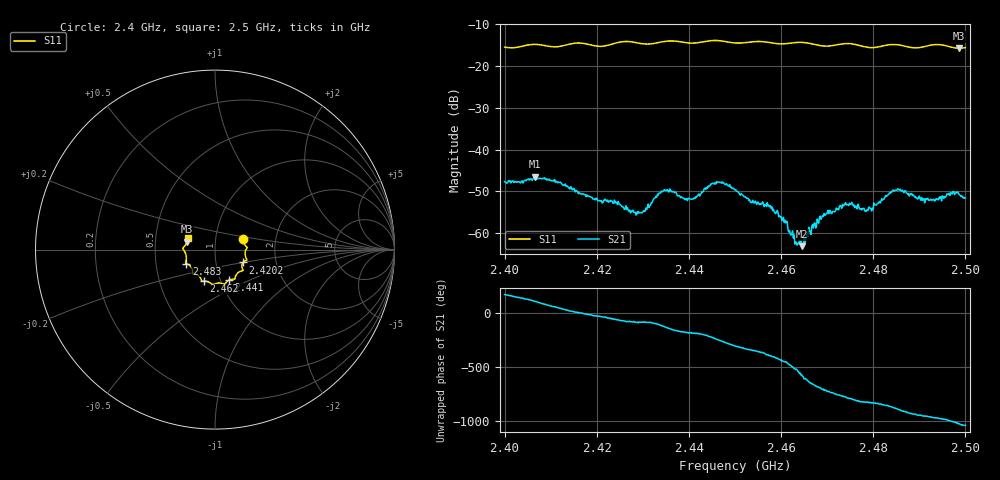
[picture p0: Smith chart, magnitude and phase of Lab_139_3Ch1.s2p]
# Hz S RI R 50
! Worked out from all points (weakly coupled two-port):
!   601 points, 2.4 GHz to 2.5 GHz, reference 50 ohm
!   highest |S21| = -46.48 dB at 2.4065 GHz (marker M1); lowest = -63.1 dB at 2.4645 GHz (marker M2)
!   lowest |S11| = -15.8 dB at 2.4987 GHz (marker M3), VSWR 1.39, Z = 36.4 + j3.28 ohm
!   |S11| at or under -10 dB: start of sweep to end of sweep
!   S12 and S22 are empty: the file has one direction only
!   S11 on the Smith chart (normalised r, x): 2.4 GHz: 1.36, +0.17; 2.4202 GHz: 1.35, -0.20; 2.441 GHz: 1.10, -0.39; 2.462 GHz: 0.83, -0.30; 2.483 GHz: 0.72, -0.12; 2.5 GHz: 0.73, +0.09
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2.4e9  0.1562 0.0605  -0.00407 0.000706  0 0  0 0
2.4065e9  0.1802 0.0127  -0.00139 0.00454  0 0  0 0
2.416667e9  0.1775 -0.0584  0.00293 -3.52e-05  0 0  0 0
2.420167e9  0.1561 -0.0717  0.00213 -0.00125  0 0  0 0
2.429e9  0.1438 -0.1201  -5.42e-05 -0.00183  0 0  0 0
2.433333e9  0.1128 -0.1524  -0.000853 -0.00272  0 0  0 0
2.435667e9  0.1108 -0.1645  -0.00251 -0.00182  0 0  0 0
2.441e9  0.077 -0.1704  -0.00253 0.00041  0 0  0 0
2.446167e9  0.0514 -0.1942  -0.00157 0.00373  0 0  0 0
2.45e9  0.0265 -0.1862  0.00196 0.00265  0 0  0 0
2.4575e9  -0.0214 -0.1886  0.00168 -0.00121  0 0  0 0
2.462e9  -0.0617 -0.1763  -0.000557 -0.000808  0 0  0 0
2.4645e9  -0.0735 -0.1761  -0.000566 0.000413  0 0  0 0
2.466667e9  -0.0765 -0.1669  0.000519 0.00109  0 0  0 0
2.473833e9  -0.1241 -0.1365  0.00124 -0.00185  0 0  0 0
2.4785e9  -0.1278 -0.1084  -0.000518 -0.00175  0 0  0 0
2.483e9  -0.1592 -0.078  -0.00204 -0.00192  0 0  0 0
2.483333e9  -0.161 -0.0773  -0.00235 -0.00167  0 0  0 0
2.485833e9  -0.1629 -0.0689  -0.00336 -4.71e-05  0 0  0 0
2.492833e9  -0.178 0.00249  -0.000885 0.00232  0 0  0 0
2.498667e9  -0.1558 0.0438  0.0018 0.00227  0 0  0 0
2.5e9  -0.153 0.0628  0.0021 0.00159  0 0  0 0
